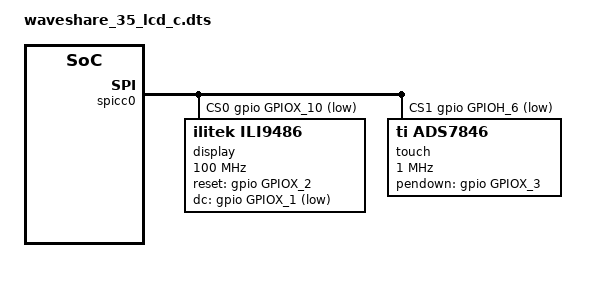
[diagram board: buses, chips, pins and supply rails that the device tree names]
/dts-v1/;
/plugin/;

#include <dt-bindings/gpio/meson-g12a-gpio.h>
#include <dt-bindings/gpio/gpio.h>

/ {
	fragment@0 {
		target = <&spicc0>;

		__overlay__ {
			status = "okay";

			pinctrl-names = "default";
			pinctrl-0 = <&spicc0_pins_x>;

			num_chipselect = <2>;
			cs-gpios = <&gpio GPIOX_10 GPIO_ACTIVE_LOW>,
				<&gpio GPIOH_6 GPIO_ACTIVE_LOW>;

			#address-cells = <0x1>;
			#size-cells = <0x0>;

			display: display@0 {
				status = "okay";

				compatible = "ilitek,ili9486";
				reg = <0>;

				spi-max-frequency = <100000000>;

				txbuflen = <32768>;
				rotate = <90>;
				bgr = <0>;
				fps = <30>;
				buswidth = <8>;
				regwidth = <16>;
				reset-gpios = <&gpio GPIOX_2 GPIO_ACTIVE_HIGH>;
				dc-gpios = <&gpio GPIOX_1 GPIO_ACTIVE_LOW>;
				debug = <0>;

				init = <0x10000f1 0x36 0x4 0x0 0x3c 0xf 0x8f
				        0x10000f2 0x18 0xa3 0x12 0x2 0xb2 0x12 0xff 0x10 0x0
				        0x10000f8 0x21 0x4
				        0x10000f9 0x0 0x8
				        0x1000036 0x8
				        0x10000b4 0x0
				        0x10000c1 0x41
				        0x10000c5 0x0 0x91 0x80 0x0
				        0x10000e0 0xf 0x1f 0x1c 0xc 0xf 0x8 0x48 0x98 0x37 0xa 0x13 0x4 0x11 0xd 0x0
				        0x10000e1 0xf 0x32 0x2e 0xb 0xd 0x5 0x47 0x75 0x37 0x6 0x10 0x3 0x24 0x20 0x0
				        0x100003a 0x55
				        0x1000011
				        0x1000036 0x28
				        0x20000ff
				        0x1000029>;
			};

			touch: touch@1 {
				status = "okay";
				compatible = "ti,ads7846";

				spi-max-frequency = <1000000>;
				reg = <1>;

				pendown-gpio = <&gpio GPIOX_3 GPIO_ACTIVE_HIGH>;

				ti,swap-xy = <1>;
				ti,x-min = /bits/ 16 <0>;
				ti,x-max = /bits/ 16 <8000>;
				ti,y-min = /bits/ 16 <0>;
				ti,y-max = /bits/ 16 <4800>;
				ti,x-plate-ohms = /bits/ 16 <40>;
				ti,pressure-max = /bits/ 16 <255>;

				linux,wakeup;
			};
		};
	};
};
